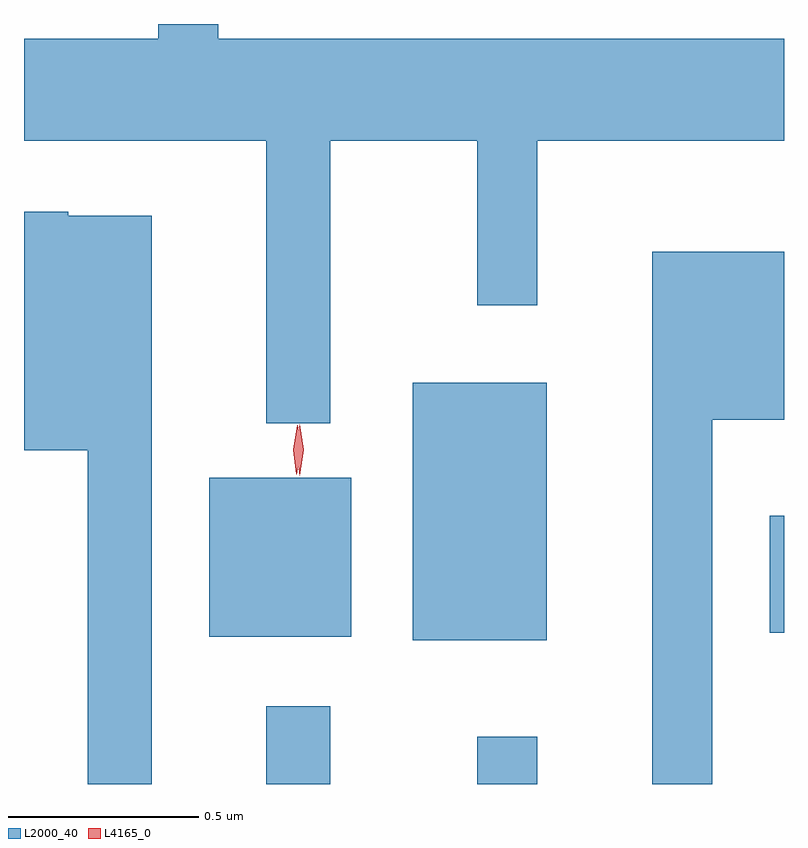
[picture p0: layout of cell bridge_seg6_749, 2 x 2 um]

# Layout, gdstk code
import gdstk
lib = gdstk.Library(unit=1e-6, precision=1e-09)
def R(c, l, rs):  # rectangles x0, y0, x1, y1
    for r in rs: c.add(gdstk.rectangle(r[:2], r[2:], *l))
def P(c, l, *ps):  # polygons
    for p in ps: c.add(gdstk.Polygon(p, *l))
L2000_40 = (2000, 40)
L4165_0 = (4165, 0)

bridge_seg6_749 = lib.new_cell('bridge_seg6_749')
R(bridge_seg6_749, L2000_40, [(492.401,1530.583,492.569,1530.788), (492.956,1530.583,493.114,1530.708), (492.786,1530.961,493.139,1531.639), (492.251,1530.971,492.624,1531.389), (493.726,1530.981,493.763,1531.289)])
P(bridge_seg6_749, L2000_40, [(492.569,1532.276),(492.956,1532.276),(492.956,1531.843),(493.114,1531.843),(493.114,1532.276),(493.763,1532.276),(493.763,1532.544),(492.274,1532.544),(492.274,1532.583),(492.116,1532.583),(492.116,1532.544),(491.763,1532.544),(491.763,1532.276),(492.401,1532.276),(492.401,1531.533),(492.569,1531.533)],
  [(492.099,1532.079),(491.88,1532.079),(491.88,1532.089),(491.763,1532.089),(491.763,1531.461),(491.931,1531.461),(491.931,1530.583),(492.099,1530.583)],
  [(493.574,1531.541),(493.763,1531.541),(493.763,1531.984),(493.416,1531.984),(493.416,1530.583),(493.574,1530.583)])
P(bridge_seg6_749, L4165_0, [(492.488,1531.394),(492.479,1531.462),(492.488,1531.53),(492.489,1531.53),(492.489,1531.53),(492.499,1531.462),(492.489,1531.394),(492.489,1531.394)],
  [(492.48,1531.398),(492.48,1531.398),(492.471,1531.463),(492.482,1531.527),(492.482,1531.527),(492.483,1531.527),(492.492,1531.462),(492.481,1531.398)])

lib.write_gds('bridge_seg6_749.gds')
